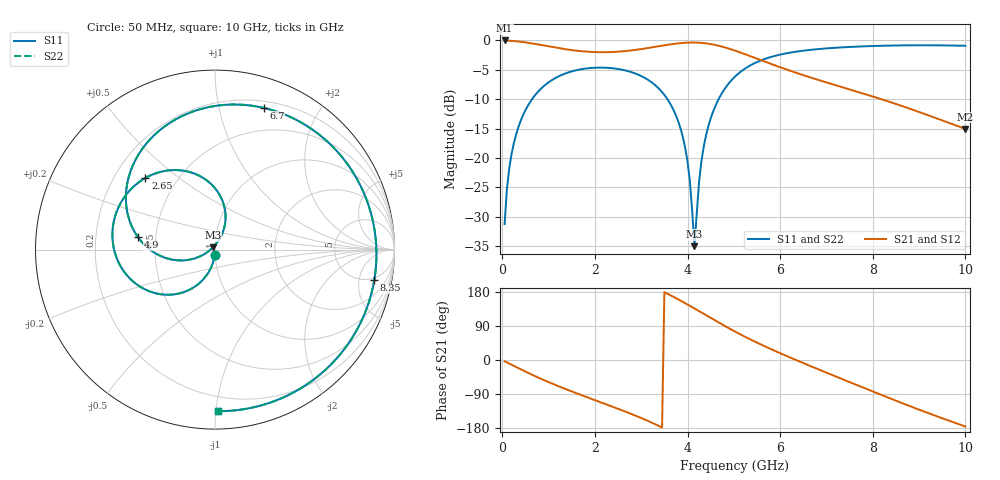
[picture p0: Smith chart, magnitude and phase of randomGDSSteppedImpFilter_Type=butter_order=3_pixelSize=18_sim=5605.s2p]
! freq	dB(S11)	phase(S11)	dB(S12)	phase(S12)
!  dB(S21)	phase(S21)	dB(S22)	phase(S22)
!S-par simulation data
#  GHz  S  DB  R 50
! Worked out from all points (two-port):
!   200 points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, 50 MHz to 10 GHz, reference 50 ohm
!   highest |S21| = -0.01 dB at 50 MHz (marker M1); lowest = -15.1 dB at 10 GHz (marker M2)
!   |S21| within 3 dB of the highest: start of sweep to 5.468 GHz
!   lowest |S11| = -35.0 dB at 4.15 GHz (marker M3), VSWR 1.04, Z = 48.8 + j1.31 ohm
!   |S11| at or under -10 dB: start of sweep to 642.9 MHz; 3.566 GHz to 4.671 GHz (1.106 GHz wide, 26.8 % of centre)
!   |S22| runs from -34.8 to -0.8 dB; largest |S21 - S12| = 0
!   S11 on the Smith chart (normalised r, x): 50 MHz: 1.00, -0.05; 2.65 GHz: 0.33, +0.38; 4.9 GHz: 0.40, +0.07; 6.7 GHz: 0.26, +1.37; 8.35 GHz: 4.42, -8.18; 10 GHz: 0.11, -1.01
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0.05  -31.25 -93.2  -0.01 -3.2  -0.01 -3.2  -31.25 -93.2
0.1  -25.26 -96.6  -0.02 -6.3  -0.02 -6.3  -25.26 -96.6
0.2  -19.34 -103.0  -0.07 -12.5  -0.07 -12.5  -19.34 -103.0
0.5  -11.87 -121.1  -0.34 -30.6  -0.34 -30.6  -11.87 -121.1
1.05  -6.86 -151.4  -1.08 -60.9  -1.08 -60.9  -6.86 -151.4
1.75  -4.84 175.0  -1.86 -94.5  -1.86 -94.5  -4.84 175.0
2.65  -5.09 134.1  -1.82 -135.7  -1.82 -135.7  -5.09 134.1
3.4  -8.35 95.8  -0.96 -175.1  -0.96 -175.1  -8.35 95.9
3.9  -16.47 68.3  -0.42 153.3  -0.42 153.3  -16.47 68.5
4.05  -23.87 66.6  -0.36 143.0  -0.36 143.0  -23.85 67.1
4.15  -35.00 131.2  -0.36 136.0  -0.36 136.0  -34.77 131.3
4.25  -23.96 -156.7  -0.39 128.9  -0.39 128.9  -23.94 -157.2
4.4  -16.14 -158.5  -0.50 118.2  -0.50 118.2  -16.14 -158.7
4.9  -7.22 170.8  -1.41 83.3  -1.41 83.3  -7.22 170.7
5.05  -5.97 161.3  -1.80 73.5  -1.80 73.5  -5.97 161.3
5.75  -2.94 120.5  -3.84 31.6  -3.84 31.6  -2.94 120.5
6.25  -2.03 94.0  -5.25 4.7  -5.25 4.7  -2.03 94.0
6.7  -1.57 71.1  -6.42 -18.3  -6.42 -18.3  -1.57 71.1
7.6  -1.08 26.2  -8.58 -63.3  -8.58 -63.3  -1.07 26.2
8.35  -0.88 -10.8  -10.42 -100.1  -10.42 -100.1  -0.88 -10.8
9.25  -0.83 -54.2  -12.89 -142.5  -12.89 -142.5  -0.83 -54.1
10  -0.91 -89.1  -15.06 -175.4  -15.06 -175.4  -0.91 -89.0
